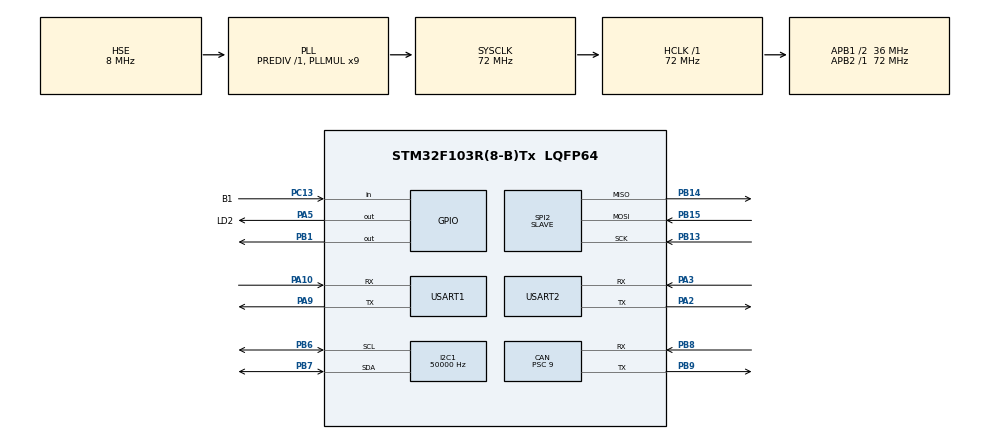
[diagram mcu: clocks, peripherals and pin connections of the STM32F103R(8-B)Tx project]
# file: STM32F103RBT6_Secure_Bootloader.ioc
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CAN.ABOM=ENABLE
CAN.BS1=CAN_BS1_13TQ
CAN.BS2=CAN_BS2_2TQ
CAN.CalculateBaudRate=250000
CAN.CalculateTimeBit=4000
CAN.CalculateTimeQuantum=250.0
CAN.NART=ENABLE
CAN.Prescaler=9
I2C1.ClockSpeed=50000
I2C1.OwnAddress=0x42
Mcu.Family=STM32F1
Mcu.Name=STM32F103R(8-B)Tx
Mcu.Package=LQFP64
NVIC.PriorityGroup=NVIC_PRIORITYGROUP_4
PA10.Mode=Asynchronous
PA10.Signal=USART1_RX
PA13.Mode=Serial_Wire
PA13.Signal=SYS_JTMS-SWDIO
PA14.Mode=Serial_Wire
PA14.Signal=SYS_JTCK-SWCLK
PA2.Mode=Asynchronous
PA2.Signal=USART2_TX
PA3.Mode=Asynchronous
PA3.Signal=USART2_RX
PA5.GPIO_Label=LD2
PA5.Signal=GPIO_Output
PA9.Mode=Asynchronous
PA9.Signal=USART1_TX
PB1.Signal=GPIO_Output
PB13.Mode=Full_Duplex_Slave
PB13.Signal=SPI2_SCK
PB14.Mode=Full_Duplex_Slave
PB14.Signal=SPI2_MISO
PB15.Mode=Full_Duplex_Slave
PB15.Signal=SPI2_MOSI
PB6.Mode=I2C
PB6.Signal=I2C1_SCL
PB7.Mode=I2C
PB7.Signal=I2C1_SDA
PB8.Mode=CAN_Activate
PB8.Signal=CAN_RX
PB9.Mode=CAN_Activate
PB9.Signal=CAN_TX
PC13-TAMPER-RTC.GPIO_Label=B1
PC13-TAMPER-RTC.Signal=GPIO_Input
PD0-OSC_IN.Mode=HSE-External-Clock-Source
PD0-OSC_IN.Signal=RCC_OSC_IN
PD1-OSC_OUT.Mode=HSE-External-Clock-Source
PD1-OSC_OUT.Signal=RCC_OSC_OUT
ProjectManager.HeapSize=0x200
ProjectManager.StackSize=0x400
ProjectManager.TargetToolchain=STM32CubeIDE
RCC.AHBFreq_Value=72000000
RCC.APB1CLKDivider=RCC_HCLK_DIV2
RCC.APB1Freq_Value=36000000
RCC.APB1TimFreq_Value=72000000
RCC.APB2Freq_Value=72000000
RCC.APB2TimFreq_Value=72000000
RCC.HCLKFreq_Value=72000000
RCC.PLLMUL=RCC_PLL_MUL9
RCC.PLLSourceVirtual=RCC_PLLSOURCE_HSE
RCC.SYSCLKFreq_VALUE=72000000
RCC.SYSCLKSource=RCC_SYSCLKSOURCE_PLLCLK
RCC.USBFreq_Value=72000000
SPI2.Direction=SPI_DIRECTION_2LINES
SPI2.Mode=SPI_MODE_SLAVE
SPI2.VirtualType=VM_SLAVE
USART1.VirtualMode=VM_ASYNC
USART2.VirtualMode=VM_ASYNC
VP_CRC_VS_CRC.Mode=CRC_Activate
board=custom

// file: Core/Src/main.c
/* USER CODE BEGIN Header */
/*
 * Flash Bootloader (FBL) - part of the STM32F103RBT6 three-tier secure bootloader.
 * Author: Adham Ehab   Date: 18/08/2026
 */
/**
  ******************************************************************************
  * @file           : main.c
  * @brief          : Main program body
  * @author			: Adham Ehab
  * @date			: 18/8/2026
  ******************************************************************************
  * @attention
  *
  * Copyright (c) 2026 STMicroelectronics.
  * All rights reserved.
  *
  * This software is licensed under terms that can be found in the LICENSE file
  * in the root directory of this software component.
  * If no LICENSE file comes with this software, it is provided AS-IS.
  *
  ******************************************************************************
  */
/* USER CODE END Header */
#include "main.h"
#include "can.h"
#include "crc.h"
#include "i2c.h"
#include "spi.h"
#include "usart.h"
#include "gpio.h"

/* USER CODE BEGIN Includes */
#include "bootloader.h"
#include "bl_config.h"
#include "bl_isotp.h"
#include "bl_uds.h"
#include "can_bl.h"

/* Set one of these to 1 in a throwaway build (0 = normal bootloader operation).
   SELFTEST builds run a software-loopback test at boot and halt showing the
   result on LD2 (solid = pass; else it blinks the code N times - see
   bl_isotp.h / bl_uds.h). SERVER runs the live iso14229 UDS server on the real
   CAN bus (for the two-board test with the BluePill UDS client). Any of these
   compiles out the normal bootloader body so the throwaway image fits. */
#ifndef BL_ISOTP_SELFTEST_ON_BOOT
#define BL_ISOTP_SELFTEST_ON_BOOT   0
#endif
#ifndef BL_UDS_SELFTEST_ON_BOOT
#define BL_UDS_SELFTEST_ON_BOOT     0
#endif
#ifndef BL_UDS_SERVER_ON_BOOT
#define BL_UDS_SERVER_ON_BOOT       0
#endif

/* USER CODE END Includes */

/* USER CODE BEGIN PD */
#define APP_ADDRESS   0x0800E000U   /* Slot A (application) base */
typedef void (*pFunction)(void);

/* USER CODE END PD */

void SystemClock_Config(void);

/* USER CODE BEGIN 0 */
#if BL_ISOTP_SELFTEST_ON_BOOT || BL_UDS_SELFTEST_ON_BOOT
/* Report a self-test result on LD2 and halt: code 0 = solid ON (pass); any other
   code blinks N times, pauses ~1.5 s, and repeats, so it can be read without a
   debugger. */
static void bl_selftest_report(int code)
{
    if (code == 0)
    {
        HAL_GPIO_WritePin(LD2_GPIO_Port, LD2_Pin, GPIO_PIN_SET);
        while (1) { /* solid ON = pass */ }
    }
    while (1)
    {
        for (int b = 0; b < code; b++)
        {
            HAL_GPIO_WritePin(LD2_GPIO_Port, LD2_Pin, GPIO_PIN_SET);
            HAL_Delay(250);
            HAL_GPIO_WritePin(LD2_GPIO_Port, LD2_Pin, GPIO_PIN_RESET);
            HAL_Delay(250);
        }
        HAL_Delay(1500);   /* gap before repeating the count */
    }
}
#endif

/* Load a new stack pointer and jump, in assembly on purpose. Written in C, the compiler is
   free to keep using the old stack frame after the switch: an optimised build popped its
   saved registers from the NEW stack, one word past the end of RAM, and bus-faulted on the
   real chip. Nothing may touch the stack between these two instructions. */
__attribute__((naked, noreturn)) static void BootMgr_SwitchStackAndJump(
    uint32_t sp __attribute__((unused)), uint32_t entry __attribute__((unused)))
{
    __asm volatile ("msr msp, r0 \n bx r1");   /* r0 = sp, r1 = entry (the two arguments) */
}

/* Boot Manager -> Application handoff (Slot A) */
/* Mask and clear every peripheral interrupt. The CAN receive interrupt is on while the FBL
   runs; after the jump its vector would belong to the app, and under the SBL to nothing. */
static void BootMgr_QuietInterrupts(void)
{
    for (uint32_t i = 0U; i < 8U; i++) {
        NVIC->ICER[i] = 0xFFFFFFFFU;
        NVIC->ICPR[i] = 0xFFFFFFFFU;
    }
    __DSB(); __ISB();
}

void BootMgr_JumpToApp(void)
{
    /* Only launch a verified application (metadata magic + whole-image CRC) */
    if (!BootMgr_AppValid())
    {
        return;   /* no valid application -> stay in the bootloader */
    }

    BootMgr_QuietInterrupts();
    HAL_RCC_DeInit();
    HAL_DeInit();
    /* Stop the SysTick Timer so it doesn't fire interrupts during the jump */
    SysTick->CTRL = 0;
    SysTick->LOAD = 0;
    SysTick->VAL  = 0;

    SCB->VTOR = APP_ADDRESS;                                   /* relocate vector table */
    BootMgr_SwitchStackAndJump(*(volatile uint32_t *)APP_ADDRESS,         /* [0] app stack pointer */
                               *(volatile uint32_t *)(APP_ADDRESS + 4));  /* [1] app reset handler */
}

extern uint32_t _sbl_flash_start[], _sbl_ram_start[], _sbl_ram_end[];   /* linker symbols */

/* Copy the SBL from FLASH into RAM, then execute it from RAM */
void BootMgr_RunSBL(void)
{
    uint32_t *src = _sbl_flash_start;
    uint32_t *dst = _sbl_ram_start;
    while (dst < _sbl_ram_end) { *dst++ = *src++; }   /* stage image into RAM */

    BootMgr_QuietInterrupts();               /* the SBL's table has no peripheral handlers */
    SysTick->CTRL = 0;                       /* stop SysTick (no handler in SBL table) */
    __DSB(); __ISB();
    SCB->VTOR = (uint32_t)_sbl_ram_start;     /* vector table now in RAM */
    BootMgr_SwitchStackAndJump(_sbl_ram_start[0],    /* [0] initial stack pointer */
                               _sbl_ram_start[1]);   /* [1] reset vector: jump into RAM */
}

/* USER CODE END 0 */

int main(void)
{

  /* USER CODE BEGIN 1 */
  SCB->VTOR = 0x08004000U;   /* FBL lives at 0x08004000 */

  /* USER CODE END 1 */

  /* MCU Configuration--------------------------------------------------------*/

  /* Reset of all peripherals, Initializes the Flash interface and the Systick. */
  HAL_Init();

  /* Configure the system clock */
  SystemClock_Config();

  /* Initialize all configured peripherals */
  MX_GPIO_Init();
  MX_CAN_Init();
  MX_CRC_Init();
  MX_USART2_UART_Init();
  MX_USART1_UART_Init();
  MX_I2C1_Init();
  MX_SPI2_Init();
  /* USER CODE BEGIN 2 */
#if BL_ISOTP_SELFTEST_ON_BOOT
  /* Throwaway diagnostic: exercise the isotp-c stack in software loopback.
     Halts showing the result on LD2 (codes documented in bl_isotp.h). */
  bl_selftest_report(BL_ISOTP_SelfTest());
#endif
#if BL_UDS_SELFTEST_ON_BOOT
  /* Throwaway diagnostic: drive a full UDS reprogramming sequence in software
     loopback. Halts showing the result on LD2 (codes documented in bl_uds.h). */
  bl_selftest_report(BL_UDS_SelfTest());
#endif
#if BL_UDS_SERVER_ON_BOOT
  /* Throwaway build: run the live iso14229 UDS server on the real CAN bus so a
     second node (the BluePill UDS client) can drive the reprogramming sequence
     over the wire. LD2 blinks ~4 Hz as a "server alive" heartbeat. */
  {
      uint32_t hb = HAL_GetTick();
      CAN_BL_Init();    /* CAN1 normal mode, accept-all filter, started */
      BL_UDS_Init();
      for (;;)
      {
          BL_UDS_Poll();
          if (HAL_GetTick() - hb >= 250U)
          {
              HAL_GPIO_TogglePin(LD2_GPIO_Port, LD2_Pin);
              hb = HAL_GetTick();
          }
      }
  }
#endif
/* In a throwaway self-test/server build the code above never returns, so the
   normal bootloader body below is unreachable. Compile it out then, so
   --gc-sections drops the full bootloader (crypto, command layer, ...) and the
   throwaway image fits the 40 KB FBL region alongside the ISO-TP/UDS stack. */
#if !(BL_ISOTP_SELFTEST_ON_BOOT || BL_UDS_SELFTEST_ON_BOOT || BL_UDS_SERVER_ON_BOOT)
  FBL_EnsureBmState();   /* keep the Boot Manager.s FBL-CRC record current */

  /* Power-on self-test. RAM + CRC engine are critical: if either fails we can't
     trust the integrity checks the rest of the boot relies on, so halt in a
     fast error blink rather than launch anything. VDD is advisory. The result
     is kept and can be read back with the BIST command. */
  {
      bist_result_t bist;
      if (!BIST_Run(&bist))
      {
          while (1) { HAL_GPIO_TogglePin(LD2_GPIO_Port, LD2_Pin); HAL_Delay(60); }
      }
  }

  (void)&BootMgr_RunSBL;   /* kept for later use (SBL runs from RAM) */

  /* Boot decision: if the B1 button (PC13) is NOT held, launch the app.
     BootMgr_JumpToApp returns only if there is no valid app in Slot A. */
  if (HAL_GPIO_ReadPin(B1_GPIO_Port, B1_Pin) == GPIO_PIN_SET)
  {
      /* BootTrial_AllowJump records this boot attempt and returns 0 once a
         freshly installed app has failed to confirm itself too many times ->
         we fall through to bootloader mode (recovery) instead of relaunching it. */
      if (BootTrial_AllowJump())
      {
          BootMgr_JumpToApp();
      }
  }

  /* Button held, or no valid app: show bootloader mode, then wait for commands. */
  for (int i = 0; i < 6; i++)
  {
      HAL_GPIO_TogglePin(LD2_GPIO_Port, LD2_Pin);
      HAL_Delay(80);
  }
  BL_Run();
#endif /* normal bootloader body (skipped in a self-test build) */
  /* USER CODE END 2 */

  /* Infinite loop */
  while (1)
  {

    /* USER CODE BEGIN 3 */
    HAL_GPIO_TogglePin(LD2_GPIO_Port, LD2_Pin);
    HAL_Delay(200);   /* Boot Manager heartbeat blink */
  }
  /* USER CODE END 3 */
}

void SystemClock_Config(void)
{
  RCC_OscInitTypeDef RCC_OscInitStruct = {0};
  RCC_ClkInitTypeDef RCC_ClkInitStruct = {0};

  /** Initializes the RCC Oscillators according to the specified parameters
  * in the RCC_OscInitTypeDef structure.
  */
  RCC_OscInitStruct.OscillatorType = RCC_OSCILLATORTYPE_HSE;
  RCC_OscInitStruct.HSEState = RCC_HSE_BYPASS;
  RCC_OscInitStruct.HSEPredivValue = RCC_HSE_PREDIV_DIV1;
  RCC_OscInitStruct.HSIState = RCC_HSI_ON;
  RCC_OscInitStruct.PLL.PLLState = RCC_PLL_ON;
  RCC_OscInitStruct.PLL.PLLSource = RCC_PLLSOURCE_HSE;
  RCC_OscInitStruct.PLL.PLLMUL = RCC_PLL_MUL9;
  if (HAL_RCC_OscConfig(&RCC_OscInitStruct) != HAL_OK)
  {
    Error_Handler();
  }

  /** Initializes the CPU, AHB and APB buses clocks
  */
  RCC_ClkInitStruct.ClockType = RCC_CLOCKTYPE_HCLK|RCC_CLOCKTYPE_SYSCLK
                              |RCC_CLOCKTYPE_PCLK1|RCC_CLOCKTYPE_PCLK2;
  RCC_ClkInitStruct.SYSCLKSource = RCC_SYSCLKSOURCE_PLLCLK;
  RCC_ClkInitStruct.AHBCLKDivider = RCC_SYSCLK_DIV1;
  RCC_ClkInitStruct.APB1CLKDivider = RCC_HCLK_DIV2;
  RCC_ClkInitStruct.APB2CLKDivider = RCC_HCLK_DIV1;

  if (HAL_RCC_ClockConfig(&RCC_ClkInitStruct, FLASH_LATENCY_2) != HAL_OK)
  {
    Error_Handler();
  }
}

void Error_Handler(void)
{
  __disable_irq();
  while (1)
  {
  }
}
